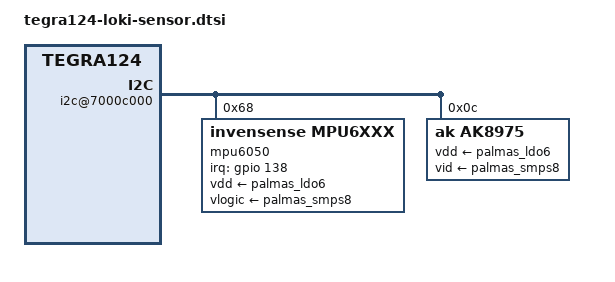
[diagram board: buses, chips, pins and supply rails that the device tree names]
/* Copyright (c) 2015, NVIDIA CORPORATION.  All rights reserved.
 *
 * This program is free software; you can redistribute it and/or modify
 * it under the terms of the GNU General Public License as published by
 * the Free Software Foundation; either version 2 of the License, or
 * (at your option) any later version.
 *
 * This program is distributed in the hope that it will be useful, but WITHOUT
 * ANY WARRANTY; without even the implied warranty of MERCHANTABILITY or
 * FITNESS FOR A PARTICULAR PURPOSE.  See the GNU General Public License for
 * more details.
 *
 * You should have received a copy of the GNU General Public License along
 * with this program; if not, write to the Free Software Foundation, Inc.,
 * 51 Franklin Street, Fifth Floor, Boston, MA  02110-1301, USA.
 */

#include "tegra124-loki-pmic-e2545-0000-common.dtsi"

/ {
	i2c@7000c000 {
		mpu6050@68 {
			compatible = "invensense,mpu6xxx";
			reg = <0x68>;
			interrupt-parent = <&gpio>;
			interrupts = <138 0x01>;
			invensense,orientation = [ff 00 00 00 01 00 00 00 ff];
			accelerometer_matrix = [ff 00 00 00 01 00 00 00 ff];
			gyroscope_matrix = [ff 00 00 00 01 00 00 00 ff];
			vdd-supply = <&palmas_ldo6>;
			vlogic-supply = <&palmas_smps8>;
		};

		ak8975@0c {
			compatible = "ak,ak8975";
			reg = <0x0c>;
			orientation = [01 00 00 00 ff 00 00 00 ff];
			magnetic_field_matrix = [01 00 00 00 ff 00 00 00 ff];
			vdd-supply = <&palmas_ldo6>;
			vid-supply = <&palmas_smps8>;
		};
	};
};
